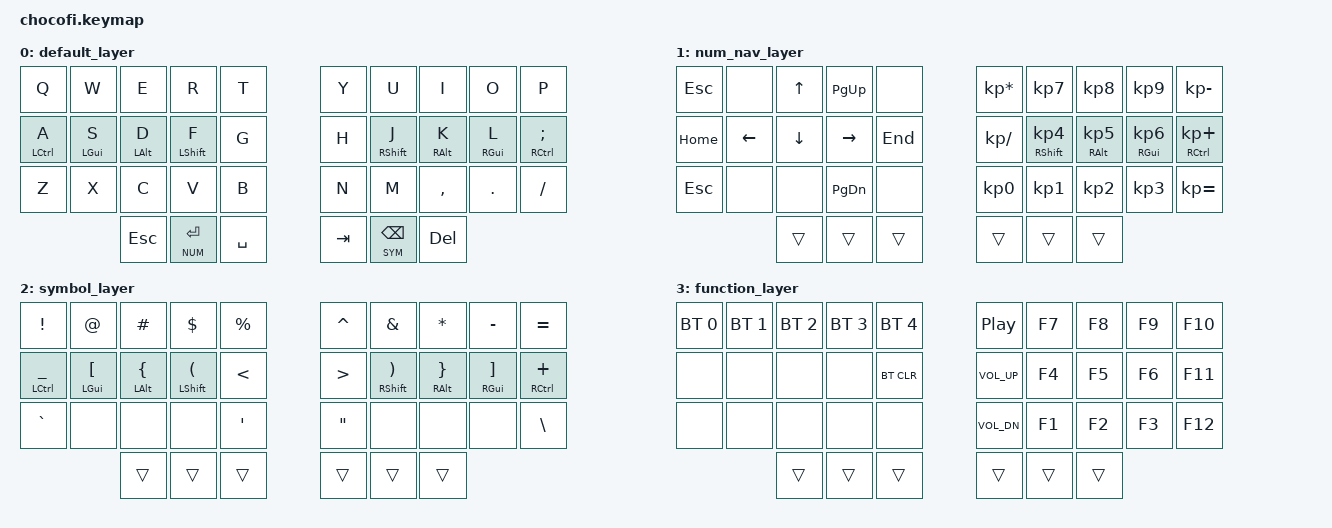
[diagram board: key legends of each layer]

#include <behaviors.dtsi>
#include <dt-bindings/zmk/keys.h>
#include <dt-bindings/zmk/bt.h>

#define BASE   0
#define NUM    1
#define SYM    2
#define FUNC   3

/ {
        chosen {
              zmk,battery = &vbatt;
        };

        vbatt: vbatt {
                compatible = "zmk,battery-nrf-vddh";
                label = "VBATT";
        };

        behaviors {
                hm: homerow_mods {
                        compatible = "zmk,behavior-hold-tap";
                        label = "HOMEROW_MODS";
                        #binding-cells = <2>;
                        tapping-term-ms = <220>;
                        quick_tap_ms = <0>;
                        flavor = "balanced";
                        bindings = <&kp>, <&kp>;
                };
        };

        conditional_layers {
                compatible = "zmk,conditional-layers";
                tri_layer {
                        if-layers = <NUM SYM>;
                        then-layer = <FUNC>;
                };
        };

        keymap {
                compatible = "zmk,keymap";

                default_layer       {
                        bindings = <
   &kp Q             &kp W             &kp E             &kp R             &kp T                  &kp Y             &kp U             &kp I             &kp O             &kp P
   &hm LCTRL A       &hm LGUI S        &hm LALT D        &hm LSHIFT F      &kp G                  &kp H             &hm RSHIFT J      &hm RALT K        &hm RGUI L        &hm RCTRL SEMI
   &kp Z             &kp X             &kp C             &kp V             &kp B                  &kp N             &kp M             &kp COMMA         &kp DOT           &kp FSLH
                                       &kp ESC           &lt NUM RET       &kp SPACE              &kp TAB           &lt SYM BSPC      &kp DEL
                        >;
                };
 
                num_nav_layer {
                        bindings = <
   &kp ESC           &none             &kp UP            &kp PG_UP         &none                  &kp KP_ASTERISK   &kp KP_N7         &kp KP_N8         &kp KP_N9         &kp KP_MINUS
   &kp HOME          &kp LEFT          &kp DOWN          &kp RIGHT         &kp END                &kp KP_SLASH      &hm RSHIFT KP_N4  &hm RALT KP_N5    &hm RGUI KP_N6    &hm RCTRL KP_PLUS
   &kp ESC           &none             &none             &kp PG_DN         &none                  &kp KP_N0         &kp KP_N1         &kp KP_N2         &kp KP_N3         &kp KP_EQUAL
                                       &trans            &trans            &trans                 &trans            &trans            &trans
                        >;
                };

                symbol_layer {
                        bindings = <
   &kp EXCL          &kp AT            &kp HASH          &kp DLLR          &kp PRCNT              &kp CARET         &kp AMPS          &kp STAR          &kp MINUS         &kp EQUAL
   &hm LCTRL UNDER   &hm LGUI LBKT     &hm LALT LBRC     &hm LSHIFT LPAR   &kp LT                 &kp GT            &hm RSHIFT RPAR   &hm RALT RBRC     &hm RGUI RBKT     &hm RCTRL PLUS
   &kp GRAVE         &none             &none             &none             &kp SINGLE_QUOTE       &kp DOUBLE_QUOTES &none             &none             &none             &kp BSLH
                                       &trans            &trans            &trans                 &trans            &trans            &trans
                        >;
                };

                function_layer {
                        bindings = <
   &bt BT_SEL 0      &bt BT_SEL 1      &bt BT_SEL 2      &bt BT_SEL 3      &bt BT_SEL 4           &kp C_PLAY_PAUSE  &kp F7            &kp F8            &kp F9            &kp F10
   &none             &none             &none             &none             &bt BT_CLR             &kp C_VOL_UP      &kp F4            &kp F5            &kp F6            &kp F11
   &none             &none             &none             &none             &none                  &kp C_VOL_DN      &kp F1            &kp F2            &kp F3            &kp F12
                                       &trans            &trans            &trans                 &trans            &trans            &trans
                        >;
                };
        };
};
